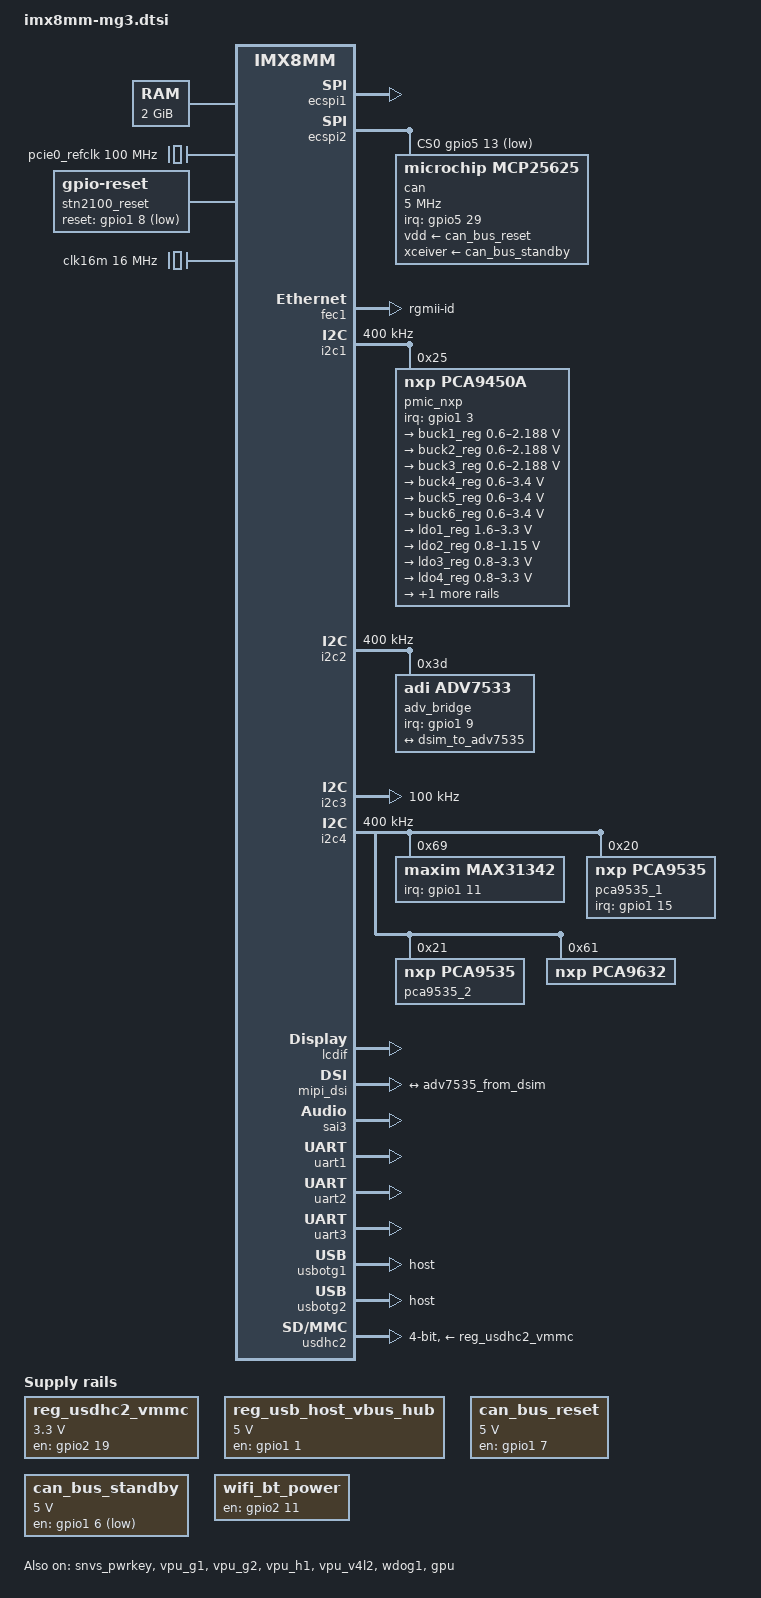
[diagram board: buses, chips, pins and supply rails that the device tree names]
// SPDX-License-Identifier: (GPL-2.0+ OR MIT)
/*
 * Copyright 2020 NXP
 */

/dts-v1/;

#include <dt-bindings/usb/pd.h>
#include "imx8mm.dtsi"

/ {
	chosen {
		stdout-path = &uart2;
	};

	memory@40000000 {
		device_type = "memory";
		reg = <0x0 0x40000000 0 0x80000000>;
	};

	pcie0_refclk: pcie0-refclk {
		compatible = "fixed-clock";
		#clock-cells = <0>;
		clock-frequency = <100000000>;
	};

	reg_usdhc2_vmmc: regulator-usdhc2 {
		compatible = "regulator-fixed";
		pinctrl-names = "default";
		pinctrl-0 = <&pinctrl_reg_usdhc2_vmmc>;
		regulator-name = "VSD_3V3";
		regulator-min-microvolt = <3300000>;
		regulator-max-microvolt = <3300000>;
		gpio = <&gpio2 19 GPIO_ACTIVE_HIGH>;
		off-on-delay-us = <20000>;
		enable-active-high;
	};

	stn2100_reset: stn2100-reset {
		compatible = "gpio-reset";
		pinctrl-names = "default";
		pinctrl-0 = <&pinctrl_stn2100>;
		reset-gpios = <&gpio1 8 GPIO_ACTIVE_LOW>;
		reset-delay-us = <2000>;
		reset-post-delay-ms = <40>;
		#reset-cells = <0>;
	};

	/* Fixed crystal dedicated to mcp251x */
	clk16m: clock-16m {
		compatible = "fixed-clock";
		#clock-cells = <0>;
		clock-frequency = <16000000>;
		clock-output-names = "clk16m";
	};
/*
	reg_usb_otg1_vbus: regulator-usbotg1-vbus {
		compatible = "regulator-fixed";
		regulator-name = "usb_otg1_vbus";
		regulator-min-microvolt = <5000000>;
		regulator-max-microvolt = <5000000>;
		pinctrl-names = "default";
		pinctrl-0 = <&pinctrl_reg_usb_otg1_vbus>;
		gpio = <&gpio4 27 GPIO_ACTIVE_HIGH>;
		enable-active-high;
	};
*/
        /* on module USB hub */
        reg_usb_host_vbus_hub: regulator-usb-host-vbus-hub {
                compatible = "regulator-fixed";
                pinctrl-names = "default";
                pinctrl-0 = <&pinctrl_regulator_usbhub_pwr>;
                regulator-name = "usb_host_vbus_hub";
                regulator-min-microvolt = <5000000>;
                regulator-max-microvolt = <5000000>;
                gpio = <&gpio1 1 GPIO_ACTIVE_HIGH>;
                startup-delay-us = <2000>;
                enable-active-high;
                status = "okay";
        };

/*
	reg_usb_otg2_vbus: regulator-usbotg2-vbus {
		compatible = "regulator-fixed";
		regulator-name = "usb_otg2_vbus";
		regulator-min-microvolt = <5000000>;
		regulator-max-microvolt = <5000000>;
		pinctrl-names = "default";
		pinctrl-0 = <&pinctrl_reg_usb_otg2_vbus>;
		gpio = <&gpio4 24 GPIO_ACTIVE_HIGH>;
		vin-supply = <&reg_usb_host_vbus_hub>;
		enable-active-high;
	};
*/
	can_bus_reset: regulator-canbus-reset {
		compatible = "regulator-fixed";
		regulator-name = "can_bus_reset";
		regulator-min-microvolt = <5000000>;
		regulator-max-microvolt = <5000000>;
		pinctrl-names = "default";
		pinctrl-0 = <&pinctrl_can_bus_reset>;
		gpio = <&gpio1 7 GPIO_ACTIVE_HIGH>;
		enable-active-high;
	};


	can_bus_standby: regulator-canbus-standby {
		compatible = "regulator-fixed";
		regulator-name = "can_bus_standby";
		regulator-min-microvolt = <5000000>;
		regulator-max-microvolt = <5000000>;
		pinctrl-names = "default";
		pinctrl-0 = <&pinctrl_can_bus_standby>;
		gpio = <&gpio1 6 GPIO_ACTIVE_HIGH>;
		enable-active-low;
	};

	wifi_bt_power: wifi-bt-regulator {
                compatible = "regulator-fixed";
                enable-active-high;
                gpio = <&gpio2 11 GPIO_ACTIVE_HIGH>;
                pinctrl-names = "default";
                pinctrl-0 = <&wifi_bt_drv>;
                regulator-name = "wifi_bt_power";
                regulator-always-on;
                regulator-boot-on;
        };
};

&A53_0 {
	cpu-supply = <&buck2_reg>;
};

&A53_1 {
	cpu-supply = <&buck2_reg>;
};

&A53_2 {
	cpu-supply = <&buck2_reg>;
};

&A53_3 {
	cpu-supply = <&buck2_reg>;
};

&ecspi1 {
	#address-cells = <1>;
	#size-cells = <0>;
	pinctrl-names = "default";
	pinctrl-0 = <&pinctrl_ecspi1 &pinctrl_ecspi1_cs>;
	cs-gpios = <&gpio5 9 GPIO_ACTIVE_LOW>; 
	status = "okay";
};

&ecspi2 {
	#address-cells = <1>;
	#size-cells = <0>;
	fsl,spi-num-chipselects = <1>;
	pinctrl-names = "default";
	pinctrl-0 = <&pinctrl_ecspi2 &pinctrl_ecspi2_cs>;
	cs-gpios = <&gpio5 13 GPIO_ACTIVE_LOW>;
	status = "okay";

	can@0 {
		compatible = "microchip,mcp25625";
		reg = <0>;
		clocks = <&clk16m>;
                pinctrl-names = "default";
                pinctrl-0 = <&pinctrl_can_int>;
		interrupt-parent = <&gpio5>;
                interrupts = <29 IRQ_TYPE_LEVEL_LOW>;
		spi-max-frequency = <5000000>;
		vdd-supply = <&can_bus_reset>;
		xceiver-supply = <&can_bus_standby>;
	};
};

&fec1 {
	pinctrl-names = "default";
	pinctrl-0 = <&pinctrl_fec1>;
	phy-mode = "rgmii-id";
	fsl,magic-packet;
	status = "okay";
};

&i2c1 {
	clock-frequency = <400000>;
	pinctrl-names = "default";
	pinctrl-0 = <&pinctrl_i2c1>;
	status = "okay";

	pmic_nxp: pca9450@25 {
		compatible = "nxp,pca9450a";
		reg = <0x25>;
		pinctrl-0 = <&pinctrl_pmic>;
		pinctrl-names = "default";
		interrupt-parent = <&gpio1>;
		interrupts = <3 IRQ_TYPE_LEVEL_LOW>;

		regulators {
			buck1_reg: BUCK1 {
				regulator-name = "BUCK1";
				regulator-min-microvolt = <600000>;
				regulator-max-microvolt = <2187500>;
				regulator-boot-on;
				regulator-always-on;
				regulator-ramp-delay = <3125>;
				nxp,dvs-run-voltage = <850000>;
				nxp,dvs-standby-voltage = <800000>;
			};

			buck2_reg: BUCK2 {
				regulator-name = "BUCK2";
				regulator-min-microvolt = <600000>;
				regulator-max-microvolt = <2187500>;
				regulator-boot-on;
				regulator-always-on;
				regulator-ramp-delay = <3125>;
			};

			buck3_reg: BUCK3 {
				regulator-name = "BUCK3";
				regulator-min-microvolt = <600000>;
				regulator-max-microvolt = <2187500>;
				regulator-boot-on;
				regulator-always-on;
			};

			buck4_reg: BUCK4 {
				regulator-name = "BUCK4";
				regulator-min-microvolt = <600000>;
				regulator-max-microvolt = <3400000>;
				regulator-boot-on;
				regulator-always-on;
			};

			buck5_reg: BUCK5 {
				regulator-name = "BUCK5";
				regulator-min-microvolt = <600000>;
				regulator-max-microvolt = <3400000>;
				regulator-boot-on;
				regulator-always-on;
			};

			buck6_reg: BUCK6 {
				regulator-name = "BUCK6";
				regulator-min-microvolt = <600000>;
				regulator-max-microvolt = <3400000>;
				regulator-boot-on;
				regulator-always-on;
			};

			ldo1_reg: LDO1 {
				regulator-name = "LDO1";
				regulator-min-microvolt = <1600000>;
				regulator-max-microvolt = <3300000>;
				regulator-boot-on;
				regulator-always-on;
			};

			ldo2_reg: LDO2 {
				regulator-name = "LDO2";
				regulator-min-microvolt = <800000>;
				regulator-max-microvolt = <1150000>;
				regulator-boot-on;
				regulator-always-on;
			};

			ldo3_reg: LDO3 {
				regulator-name = "LDO3";
				regulator-min-microvolt = <800000>;
				regulator-max-microvolt = <3300000>;
				regulator-boot-on;
				regulator-always-on;
			};

			ldo4_reg: LDO4 {
				regulator-name = "LDO4";
				regulator-min-microvolt = <800000>;
				regulator-max-microvolt = <3300000>;
				regulator-boot-on;
				regulator-always-on;
			};

			ldo5_reg: LDO5 {
				regulator-name = "LDO5";
				regulator-min-microvolt = <1800000>;
				regulator-max-microvolt = <3300000>;
			};
		};
	};
};

&i2c2 {
	clock-frequency = <400000>;
	pinctrl-names = "default";
	pinctrl-0 = <&pinctrl_i2c2>;
	status = "okay";

	adv_bridge: adv7535@3d {
		compatible = "adi,adv7533";
		reg = <0x3d>;
		adi,addr-cec = <0x3b>;
		adi,dsi-lanes = <4>;
		pinctrl-names = "default";
		pinctrl-0 = <&pinctrl_i2c2_synaptics_dsx_io>;
		interrupt-parent = <&gpio1>;
		interrupts = <9 IRQ_TYPE_LEVEL_LOW>;

		status = "okay";

		port {
			adv7535_from_dsim: endpoint {
				remote-endpoint = <&dsim_to_adv7535>;
			};
		};
	};

};

&i2c3 {
	clock-frequency = <100000>;
	pinctrl-names = "default";
	pinctrl-0 = <&pinctrl_i2c3>;
	status = "okay";
};

&i2c4 {
	clock-frequency = <400000>;
	pinctrl-names = "default";
	pinctrl-0 = <&pinctrl_i2c4>;
	status = "okay";

	max31342: max31342@69 {
		compatible = "maxim,max31342";
		reg = <0x69>;
		interrupt-parent = <&gpio1>;
		interrupts = <11 IRQ_TYPE_LEVEL_LOW>;
		pinctrl-names = "default";
		pinctrl-0 = <&rtc_int_drv>;
		status = "okay";
        };

	pca9535_1: gpio-expander@20 {
                compatible = "nxp,pca9535";
                reg = <0x20>;
                gpio-controller;
                #gpio-cells = <2>;
                pinctrl-names = "default";
                pinctrl-0 = <&pinctrl_pca9535_1>;
                interrupt-parent = <&gpio1>;
                interrupts = <15 IRQ_TYPE_LEVEL_LOW>;
                interrupt-controller;
                #interrupt-cells = <2>;
        };

	pca9535_2: gpio-expander@21 {
                compatible = "nxp,pca9535";
                reg = <0x21>;
                gpio-controller;
                #gpio-cells = <2>;
                pinctrl-names = "default";
                pinctrl-0 = <&pinctrl_pca9535_2>;
/*                interrupt-parent = <&gpio6>;
                interrupts = <16 IRQ_TYPE_LEVEL_LOW>; */
                interrupt-controller;
                #interrupt-cells = <2>;
        };

	pca9632: pca9632@61 {
        	compatible = "nxp,pca9632";
	        #address-cells = <1>;
	        #size-cells = <0>;
	        reg = <0x61>;

	        red@0 {
        	        label = "red";
	                reg = <0>;
	                linux,default-trigger = "none";
	        };
	        green@1 {
        	        label = "green";
	                reg = <1>;
        	        linux,default-trigger = "none";
	        };
	        blue@2 {
        	        label = "blue";
	                reg = <2>;
        	        linux,default-trigger = "none";
	        };
	        unused@3 {
        	        label = "unused";
	                reg = <3>;
        	        linux,default-trigger = "none";
	        };
	};
};

&lcdif {
       status = "okay";
};

&mipi_dsi {
       status = "okay";

       port@1 {
               dsim_to_adv7535: endpoint {
                       remote-endpoint = <&adv7535_from_dsim>;
			attach-bridge;
               };
       };
};

&sai2 {
	#sound-dai-cells = <0>;
	pinctrl-names = "default";
	pinctrl-0 = <&pinctrl_sai2>;
	assigned-clocks = <&clk IMX8MM_CLK_SAI2>;
	assigned-clock-parents = <&clk IMX8MM_AUDIO_PLL1_OUT>;
	assigned-clock-rates = <24576000>;
	status = "disable";
};

&sai1 {
	pinctrl-names = "default", "dsd";
	pinctrl-0 = <&pinctrl_sai1>;
	pinctrl-1 = <&pinctrl_sai1_dsd>;
	assigned-clocks = <&clk IMX8MM_CLK_SAI1>;
	assigned-clock-parents = <&clk IMX8MM_AUDIO_PLL1_OUT>;
	assigned-clock-rates = <49152000>;
	clocks = <&clk IMX8MM_CLK_SAI1_IPG>, <&clk IMX8MM_CLK_DUMMY>,
		<&clk IMX8MM_CLK_SAI1_ROOT>, <&clk IMX8MM_CLK_DUMMY>,
		<&clk IMX8MM_CLK_DUMMY>, <&clk IMX8MM_AUDIO_PLL1_OUT>,
		<&clk IMX8MM_AUDIO_PLL2_OUT>;
	clock-names = "bus", "mclk0", "mclk1", "mclk2", "mclk3", "pll8k", "pll11k";
	fsl,sai-multi-lane;
	fsl,dataline,dsd = <0 0xff 0xff 2 0xff 0x11>;
	dmas = <&sdma2 0 25 0>, <&sdma2 1 25 0>;
	status = "disabled";
};

&sai3 {
	pinctrl-names = "default";
	pinctrl-0 = <&pinctrl_sai3>;
	assigned-clocks = <&clk IMX8MM_CLK_SAI3>;
	assigned-clock-parents = <&clk IMX8MM_AUDIO_PLL1_OUT>;
	assigned-clock-rates = <24576000>;
	status = "okay";
};

&sai5 {
	pinctrl-names = "default";
	pinctrl-0 = <&pinctrl_sai5>;
	assigned-clocks = <&clk IMX8MM_CLK_SAI5>;
	assigned-clock-parents = <&clk IMX8MM_AUDIO_PLL1_OUT>;
	assigned-clock-rates = <49152000>;
	clocks = <&clk IMX8MM_CLK_SAI5_IPG>, <&clk IMX8MM_CLK_DUMMY>,
		<&clk IMX8MM_CLK_SAI5_ROOT>, <&clk IMX8MM_CLK_DUMMY>,
		<&clk IMX8MM_CLK_DUMMY>, <&clk IMX8MM_AUDIO_PLL1_OUT>,
		<&clk IMX8MM_AUDIO_PLL2_OUT>;
	clock-names = "bus", "mclk0", "mclk1", "mclk2", "mclk3", "pll8k", "pll11k";
	fsl,sai-asynchronous;
	status = "disabled";
};

&sai6 {
	fsl,sai-monitor-spdif;
	fsl,sai-asynchronous;
	status = "disabled";
};

&snvs_pwrkey {
	status = "okay";
};

&spdif1 {
	pinctrl-names = "default";
	pinctrl-0 = <&pinctrl_spdif1>;
	assigned-clocks = <&clk IMX8MM_CLK_SPDIF1>;
	assigned-clock-parents = <&clk IMX8MM_AUDIO_PLL1_OUT>;
	assigned-clock-rates = <24576000>;
	clocks = <&clk IMX8MM_CLK_AUDIO_AHB>, <&clk IMX8MM_CLK_24M>,
		<&clk IMX8MM_CLK_SPDIF1>, <&clk IMX8MM_CLK_DUMMY>,
		<&clk IMX8MM_CLK_DUMMY>, <&clk IMX8MM_CLK_DUMMY>,
		<&clk IMX8MM_CLK_AUDIO_AHB>, <&clk IMX8MM_CLK_DUMMY>,
		<&clk IMX8MM_CLK_DUMMY>, <&clk IMX8MM_CLK_DUMMY>,
		<&clk IMX8MM_AUDIO_PLL1_OUT>, <&clk IMX8MM_AUDIO_PLL2_OUT>;
	clock-names = "core", "rxtx0", "rxtx1", "rxtx2", "rxtx3",
		"rxtx4", "rxtx5", "rxtx6", "rxtx7", "spba", "pll8k", "pll11k";
	status = "disabled";
};

&uart1 { /* BT */
	pinctrl-names = "default";
	pinctrl-0 = <&pinctrl_uart1>;
	assigned-clocks = <&clk IMX8MM_CLK_UART1>;
	assigned-clock-parents = <&clk IMX8MM_SYS_PLL1_80M>;
	resets = <&stn2100_reset>;
	status = "okay";
};

&uart2 { /* console */
	pinctrl-names = "default";
	pinctrl-0 = <&pinctrl_uart2>;
	status = "okay";
};

&uart3 {
	pinctrl-names = "default";
	pinctrl-0 = <&pinctrl_uart3>;
	assigned-clocks = <&clk IMX8MM_CLK_UART3>;
	assigned-clock-parents = <&clk IMX8MM_SYS_PLL1_80M>;
	status = "okay";
};


&usbotg1 {
/*        vbus-supply = <&reg_usb_otg1_vbus>; */
        dr_mode = "host";
        srp-disable;
        hnp-disable;
        adp-disable;
        disable-over-current;
        /delete-property/ usb-role-switch;
        status = "okay";
};


&usbotg2 {
        dr_mode = "host";
/*        vbus-supply = <&reg_usb_otg2_vbus>; */
        srp-disable;
        hnp-disable;
        adp-disable;
        disable-over-current;
        /delete-property/ usb-role-switch;
        /*
         * FIXME: having USB2 enabled hangs the boot just after:
         * [    1.943365] ci_hdrc ci_hdrc.1: EHCI Host Controller
         * [    1.948287] ci_hdrc ci_hdrc.1: new USB bus registered, assigned bus number 1
         * [    1.971006] ci_hdrc ci_hdrc.1: USB 2.0 started, EHCI 1.00
         * [    1.977203] hub 1-0:1.0: USB hub found
         * [    1.980987] hub 1-0:1.0: 1 port detected
         */
        status = "okay";
};

&usdhc2 {
	assigned-clocks = <&clk IMX8MM_CLK_USDHC2>;
	assigned-clock-rates = <200000000>;
	pinctrl-names = "default", "state_100mhz", "state_200mhz";
	pinctrl-0 = <&pinctrl_usdhc2>, <&pinctrl_usdhc2_gpio>;
	pinctrl-1 = <&pinctrl_usdhc2_100mhz>, <&pinctrl_usdhc2_gpio>;
	pinctrl-2 = <&pinctrl_usdhc2_200mhz>, <&pinctrl_usdhc2_gpio>;
	bus-width = <4>;
	vmmc-supply = <&reg_usdhc2_vmmc>;
	status = "okay";
};

&vpu_g1 {
	status = "okay";
};

&vpu_g2 {
	status = "okay";
};

&vpu_h1 {
	status = "okay";
};

&vpu_v4l2 {
	status = "okay";
};

&wdog1 {
	pinctrl-names = "default";
	pinctrl-0 = <&pinctrl_wdog>;
	fsl,ext-reset-output;
	status = "okay";
};

&gpu {
	status = "okay";
};

&iomuxc {
        pinctrl-names = "default";
        pinctrl-0 = <&pinctrl_hog>;

        pinctrl_hog: hoggrp {
                fsl,pins = <
			MX8MM_IOMUXC_GPIO1_IO00_GPIO1_IO0               0x19    
		>;
	};

	pinctrl_ecspi1: ecspi1grp {
		fsl,pins = <
			MX8MM_IOMUXC_ECSPI1_SCLK_ECSPI1_SCLK		0x82
			MX8MM_IOMUXC_ECSPI1_MOSI_ECSPI1_MOSI		0x82
			MX8MM_IOMUXC_ECSPI1_MISO_ECSPI1_MISO		0x82
		>;
	};

	pinctrl_ecspi1_cs: ecspi1cs {
		fsl,pins = <
			MX8MM_IOMUXC_ECSPI1_SS0_GPIO5_IO9		0x40000
		>;
	};

	pinctrl_ecspi2: ecspi2grp {
		fsl,pins = <
			MX8MM_IOMUXC_ECSPI2_SCLK_ECSPI2_SCLK		0x82
			MX8MM_IOMUXC_ECSPI2_MOSI_ECSPI2_MOSI		0x82
			MX8MM_IOMUXC_ECSPI2_MISO_ECSPI2_MISO		0x82
		>;
	};

	pinctrl_ecspi2_cs: ecspi2cs {
		fsl,pins = <
			MX8MM_IOMUXC_ECSPI2_SS0_GPIO5_IO13		0x40000
		>;
	};

	pinctrl_fec1: fec1grp {
		fsl,pins = <
			MX8MM_IOMUXC_ENET_MDC_ENET1_MDC			0x3
			MX8MM_IOMUXC_ENET_MDIO_ENET1_MDIO		0x3
			MX8MM_IOMUXC_ENET_TD3_ENET1_RGMII_TD3		0x1f
			MX8MM_IOMUXC_ENET_TD2_ENET1_RGMII_TD2		0x1f
			MX8MM_IOMUXC_ENET_TD1_ENET1_RGMII_TD1		0x1f
			MX8MM_IOMUXC_ENET_TD0_ENET1_RGMII_TD0		0x1f
			MX8MM_IOMUXC_ENET_RD3_ENET1_RGMII_RD3		0x91
			MX8MM_IOMUXC_ENET_RD2_ENET1_RGMII_RD2		0x91
			MX8MM_IOMUXC_ENET_RD1_ENET1_RGMII_RD1		0x91
			MX8MM_IOMUXC_ENET_RD0_ENET1_RGMII_RD0		0x91
			MX8MM_IOMUXC_ENET_TXC_ENET1_RGMII_TXC		0x1f
			MX8MM_IOMUXC_ENET_RXC_ENET1_RGMII_RXC		0x91
			MX8MM_IOMUXC_ENET_RX_CTL_ENET1_RGMII_RX_CTL	0x91
			MX8MM_IOMUXC_ENET_TX_CTL_ENET1_RGMII_TX_CTL	0x1f
			MX8MM_IOMUXC_SAI2_RXC_GPIO4_IO22		0x19
		>;
	};

	pinctrl_gpio_wlf: gpiowlfgrp {
		fsl,pins = <
			MX8MM_IOMUXC_I2C4_SDA_GPIO5_IO21	0xd6
		>;
	};

	pinctrl_i2c1: i2c1grp {
		fsl,pins = <
			MX8MM_IOMUXC_I2C1_SCL_I2C1_SCL			0x400001c3
			MX8MM_IOMUXC_I2C1_SDA_I2C1_SDA			0x400001c3
		>;
	};

	pinctrl_i2c2: i2c2grp {
		fsl,pins = <
			MX8MM_IOMUXC_I2C2_SCL_I2C2_SCL			0x400001c3
			MX8MM_IOMUXC_I2C2_SDA_I2C2_SDA			0x400001c3
		>;
	};

	pinctrl_i2c2_synaptics_dsx_io: synaptics_dsx_iogrp {
		fsl,pins = <
			MX8MM_IOMUXC_GPIO1_IO09_GPIO1_IO9               0x19    /* Touch int */
		>;
	};

	pinctrl_i2c3: i2c3grp {
		fsl,pins = <
			MX8MM_IOMUXC_I2C3_SCL_I2C3_SCL			0x400001c3
			MX8MM_IOMUXC_I2C3_SDA_I2C3_SDA			0x400001c3
		>;
	};

	pinctrl_i2c4: i2c4grp {
		fsl,pins = <
			MX8MM_IOMUXC_I2C4_SCL_I2C4_SCL			0x400001c3
			MX8MM_IOMUXC_I2C4_SDA_I2C4_SDA			0x400001c3
		>;
	};

	pinctrl_mipi_dsi_en: mipi_dsi_en {
		fsl,pins = <
			MX8MM_IOMUXC_GPIO1_IO08_GPIO1_IO8		0x16
		>;
	};

	pinctrl_pcie0: pcie0grp {
		fsl,pins = <
			MX8MM_IOMUXC_SAI2_RXFS_GPIO4_IO21	0x41
		>;
	};

	pinctrl_pdm: pdmgrp {
		fsl,pins = <
			MX8MM_IOMUXC_SAI5_MCLK_SAI5_MCLK	0xd6
			MX8MM_IOMUXC_SAI5_RXC_PDM_CLK		0xd6
			MX8MM_IOMUXC_SAI5_RXFS_SAI5_RX_SYNC	0xd6
			MX8MM_IOMUXC_SAI5_RXD0_PDM_DATA0	0xd6
			MX8MM_IOMUXC_SAI5_RXD1_PDM_DATA1	0xd6
			MX8MM_IOMUXC_SAI5_RXD2_PDM_DATA2	0xd6
			MX8MM_IOMUXC_SAI5_RXD3_PDM_DATA3	0xd6
		>;
	};

	pinctrl_pmic: pmicirqgrp {
		fsl,pins = <
			MX8MM_IOMUXC_GPIO1_IO03_GPIO1_IO3		0x141
		>;
	};

	pinctrl_reg_usdhc2_vmmc: regusdhc2vmmcgrp {
		fsl,pins = <
			MX8MM_IOMUXC_SD2_RESET_B_GPIO2_IO19	0x41
		>;
	};

	pinctrl_sai1: sai1grp {
		fsl,pins = <
			MX8MM_IOMUXC_SAI1_MCLK_SAI1_MCLK	0xd6
			MX8MM_IOMUXC_SAI1_TXFS_SAI1_TX_SYNC	0xd6
			MX8MM_IOMUXC_SAI1_RXD7_SAI1_TX_SYNC	0xd6
			MX8MM_IOMUXC_SAI1_TXC_SAI1_TX_BCLK	0xd6
			MX8MM_IOMUXC_SAI1_TXD0_SAI1_TX_DATA0	0xd6
			MX8MM_IOMUXC_SAI1_TXD1_SAI1_TX_DATA1	0xd6
			MX8MM_IOMUXC_SAI1_TXD2_SAI1_TX_DATA2	0xd6
			MX8MM_IOMUXC_SAI1_TXD3_SAI1_TX_DATA3	0xd6
			MX8MM_IOMUXC_SAI1_TXD4_SAI1_TX_DATA4	0xd6
			MX8MM_IOMUXC_SAI1_TXD5_SAI1_TX_DATA5	0xd6
			MX8MM_IOMUXC_SAI1_TXD6_SAI1_TX_DATA6	0xd6
			MX8MM_IOMUXC_SAI1_TXD7_SAI1_TX_DATA7	0xd6
		>;
	};

	pinctrl_sai1_dsd: sai1grp_dsd {
		fsl,pins = <
			MX8MM_IOMUXC_SAI1_MCLK_SAI1_MCLK	0xd6
			MX8MM_IOMUXC_SAI1_TXFS_SAI1_TX_SYNC	0xd6
			MX8MM_IOMUXC_SAI1_RXD7_SAI1_TX_DATA4	0xd6
			MX8MM_IOMUXC_SAI1_TXC_SAI1_TX_BCLK	0xd6
			MX8MM_IOMUXC_SAI1_TXD0_SAI1_TX_DATA0	0xd6
			MX8MM_IOMUXC_SAI1_TXD1_SAI1_TX_DATA1	0xd6
			MX8MM_IOMUXC_SAI1_TXD2_SAI1_TX_DATA2	0xd6
			MX8MM_IOMUXC_SAI1_TXD3_SAI1_TX_DATA3	0xd6
			MX8MM_IOMUXC_SAI1_TXD4_SAI1_TX_DATA4	0xd6
			MX8MM_IOMUXC_SAI1_TXD5_SAI1_TX_DATA5	0xd6
			MX8MM_IOMUXC_SAI1_TXD6_SAI1_TX_DATA6	0xd6
			MX8MM_IOMUXC_SAI1_TXD7_SAI1_TX_DATA7	0xd6
		>;
	};

	pinctrl_sai2: sai2grp {
		fsl,pins = <
			MX8MM_IOMUXC_SAI2_TXC_SAI2_TX_BCLK      0xd6
			MX8MM_IOMUXC_SAI2_TXFS_SAI2_TX_SYNC     0xd6
			MX8MM_IOMUXC_SAI2_TXD0_SAI2_TX_DATA0    0xd6
			MX8MM_IOMUXC_SAI2_RXD0_SAI2_RX_DATA0    0xd6
		>;
	};

	pinctrl_sai3: sai3grp {
		fsl,pins = <
			MX8MM_IOMUXC_SAI3_TXFS_SAI3_TX_SYNC     0xd6
			MX8MM_IOMUXC_SAI3_TXC_SAI3_TX_BCLK      0xd6
			MX8MM_IOMUXC_SAI3_MCLK_SAI3_MCLK        0xd6
			MX8MM_IOMUXC_SAI3_TXD_SAI3_TX_DATA0     0xd6
			MX8MM_IOMUXC_SAI3_RXD_SAI3_RX_DATA0     0xd6
		>;
	};

	pinctrl_sai5: sai5grp {
		fsl,pins = <
			MX8MM_IOMUXC_SAI5_MCLK_SAI5_MCLK	0xd6
			MX8MM_IOMUXC_SAI5_RXC_SAI5_RX_BCLK	0xd6
			MX8MM_IOMUXC_SAI5_RXFS_SAI5_RX_SYNC	0xd6
			MX8MM_IOMUXC_SAI5_RXD0_SAI5_RX_DATA0	0xd6
			MX8MM_IOMUXC_SAI5_RXD1_SAI5_RX_DATA1    0xd6
			MX8MM_IOMUXC_SAI5_RXD2_SAI5_RX_DATA2    0xd6
			MX8MM_IOMUXC_SAI5_RXD3_SAI5_RX_DATA3    0xd6
		>;
	};

	pinctrl_spdif1: spdif1grp {
		fsl,pins = <
			MX8MM_IOMUXC_SPDIF_TX_SPDIF1_OUT	0xd6
			MX8MM_IOMUXC_SPDIF_RX_SPDIF1_IN		0xd6
		>;
	};

	pinctrl_uart1: uart1grp {
		fsl,pins = <
			MX8MM_IOMUXC_UART1_RXD_UART1_DCE_RX     0x140
			MX8MM_IOMUXC_UART1_TXD_UART1_DCE_TX     0x140
		>;
	};

	pinctrl_uart2: uart2grp {
		fsl,pins = <
			MX8MM_IOMUXC_UART2_RXD_UART2_DCE_RX	0x140
			MX8MM_IOMUXC_UART2_TXD_UART2_DCE_TX	0x140
		>;
	};

	pinctrl_uart3: uart3grp {
		fsl,pins = <
			MX8MM_IOMUXC_UART3_RXD_UART3_DCE_RX	0x140
			MX8MM_IOMUXC_UART3_TXD_UART3_DCE_TX	0x140
		>;
	};

	pinctrl_usdhc1: usdhc1grp {
		fsl,pins = <
			MX8MM_IOMUXC_SD1_CLK_USDHC1_CLK		0x190
			MX8MM_IOMUXC_SD1_CMD_USDHC1_CMD		0x1d0
			MX8MM_IOMUXC_SD1_DATA0_USDHC1_DATA0	0x1d0
			MX8MM_IOMUXC_SD1_DATA1_USDHC1_DATA1	0x1d0
			MX8MM_IOMUXC_SD1_DATA2_USDHC1_DATA2	0x1d0
			MX8MM_IOMUXC_SD1_DATA3_USDHC1_DATA3	0x1d0
		>;
	};

	pinctrl_usdhc1_100mhz: usdhc1grp100mhz {
		fsl,pins = <
			MX8MM_IOMUXC_SD1_CLK_USDHC1_CLK		0x194
			MX8MM_IOMUXC_SD1_CMD_USDHC1_CMD		0x1d4
			MX8MM_IOMUXC_SD1_DATA0_USDHC1_DATA0	0x1d4
			MX8MM_IOMUXC_SD1_DATA1_USDHC1_DATA1	0x1d4
			MX8MM_IOMUXC_SD1_DATA2_USDHC1_DATA2	0x1d4
			MX8MM_IOMUXC_SD1_DATA3_USDHC1_DATA3	0x1d4
		>;
	};

	pinctrl_usdhc1_200mhz: usdhc1grp200mhz {
		fsl,pins = <
			MX8MM_IOMUXC_SD1_CLK_USDHC1_CLK		0x196
			MX8MM_IOMUXC_SD1_CMD_USDHC1_CMD		0x1d6
			MX8MM_IOMUXC_SD1_DATA0_USDHC1_DATA0	0x1d6
			MX8MM_IOMUXC_SD1_DATA1_USDHC1_DATA1	0x1d6
			MX8MM_IOMUXC_SD1_DATA2_USDHC1_DATA2	0x1d6
			MX8MM_IOMUXC_SD1_DATA3_USDHC1_DATA3	0x1d6
		>;
	};

	pinctrl_usdhc2_gpio: usdhc2grpgpiogrp {
		fsl,pins = <
			MX8MM_IOMUXC_SD2_CD_B_USDHC2_CD_B	0x41
		>;
	};

	pinctrl_usdhc2: usdhc2grp {
		fsl,pins = <
			MX8MM_IOMUXC_SD2_CLK_USDHC2_CLK		0x190
			MX8MM_IOMUXC_SD2_CMD_USDHC2_CMD		0x1d0
			MX8MM_IOMUXC_SD2_DATA0_USDHC2_DATA0	0x1d0
			MX8MM_IOMUXC_SD2_DATA1_USDHC2_DATA1	0x1d0
			MX8MM_IOMUXC_SD2_DATA2_USDHC2_DATA2	0x1d0
			MX8MM_IOMUXC_SD2_DATA3_USDHC2_DATA3	0x1d0
			MX8MM_IOMUXC_GPIO1_IO04_USDHC2_VSELECT	0x1d0
		>;
	};

	pinctrl_usdhc2_100mhz: usdhc2-100mhzgrp {
		fsl,pins = <
			MX8MM_IOMUXC_SD2_CLK_USDHC2_CLK		0x194
			MX8MM_IOMUXC_SD2_CMD_USDHC2_CMD		0x1d4
			MX8MM_IOMUXC_SD2_DATA0_USDHC2_DATA0	0x1d4
			MX8MM_IOMUXC_SD2_DATA1_USDHC2_DATA1	0x1d4
			MX8MM_IOMUXC_SD2_DATA2_USDHC2_DATA2	0x1d4
			MX8MM_IOMUXC_SD2_DATA3_USDHC2_DATA3	0x1d4
			MX8MM_IOMUXC_GPIO1_IO04_USDHC2_VSELECT	0x1d0
		>;
	};

	pinctrl_usdhc2_200mhz: usdhc2-200mhzgrp {
		fsl,pins = <
			MX8MM_IOMUXC_SD2_CLK_USDHC2_CLK		0x196
			MX8MM_IOMUXC_SD2_CMD_USDHC2_CMD		0x1d6
			MX8MM_IOMUXC_SD2_DATA0_USDHC2_DATA0	0x1d6
			MX8MM_IOMUXC_SD2_DATA1_USDHC2_DATA1	0x1d6
			MX8MM_IOMUXC_SD2_DATA2_USDHC2_DATA2	0x1d6
			MX8MM_IOMUXC_SD2_DATA3_USDHC2_DATA3	0x1d6
			MX8MM_IOMUXC_GPIO1_IO04_USDHC2_VSELECT	0x1d0
		>;
	};

	pinctrl_can_bus_reset: can0resetgrp {
		fsl,pins = <
			MX8MM_IOMUXC_GPIO1_IO07_GPIO1_IO7	0x19
		>;
	};

	pinctrl_can_bus_standby: can0standbygrp {
		fsl,pins = <
			MX8MM_IOMUXC_GPIO1_IO06_GPIO1_IO6	0x19
		>;
	};

	pinctrl_can_int: can0intgrp {
		fsl,pins = <
			MX8MM_IOMUXC_UART4_TXD_GPIO5_IO29	0x19
		>;
	};

	rtc_int_drv: rtc0grp {
		fsl,pins = <
			MX8MM_IOMUXC_GPIO1_IO11_GPIO1_IO11	0x19
		>;
	};

	pinctrl_pca9535_1: ext1grp {
		fsl,pins = <
			MX8MM_IOMUXC_GPIO1_IO15_GPIO1_IO15	0x19
		>;
	};


	pinctrl_pca9535_2: ext2grp {
		fsl,pins = <
		>;
	};

	pinctrl_stn2100: stn21001grp {
		fsl,pins = <
			MX8MM_IOMUXC_GPIO1_IO08_GPIO1_IO8	0x19
		>;
	};

	pinctrl_reg_usb_otg1_vbus: regusbotg1vbusgrp {
		fsl,pins = <
			MX8MM_IOMUXC_SAI2_MCLK_GPIO4_IO27	0x16
		>;
	};

	pinctrl_regulator_usbhub_pwr: gpioregusbhubpwrgrp {
		fsl,pins = <
			/* USBH_HUB_EN */
			MX8MM_IOMUXC_GPIO1_IO01_GPIO1_IO1	0x16
		>;
	};

	pinctrl_reg_usb_otg2_vbus: regusbotg2vbusgrp {
		fsl,pins = <
			MX8MM_IOMUXC_SAI2_TXFS_GPIO4_IO24	0x16
		>;
	};

	pinctrl_wdog: wdoggrp {
		fsl,pins = <
			MX8MM_IOMUXC_GPIO1_IO02_WDOG1_WDOG_B	0xc6
		>;
	};

	wifi_bt_drv: wifi-bt-drv{
		fsl,pins = <
			MX8MM_IOMUXC_SD1_STROBE_GPIO2_IO11	0x19
		>;
	};

};
